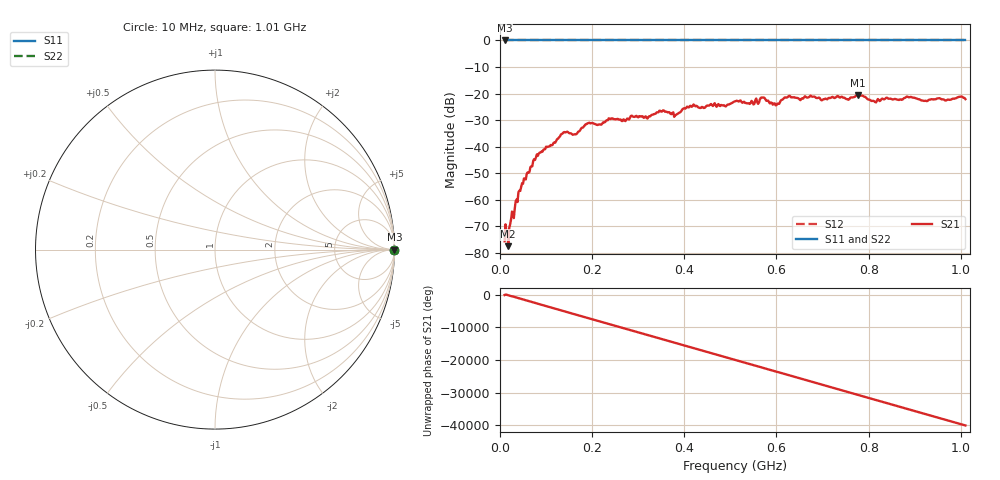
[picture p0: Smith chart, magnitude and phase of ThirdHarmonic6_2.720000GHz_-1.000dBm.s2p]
! 8/17/2025 6:37:42 AM
! C:\ANRITSUVNA\TEMP\TEMP.S2P
! CHANNEL.1
! TR.MEASUREMENT
! RAW.DATA
! RF.CORRECTION.OFF
! AVERAGING.OFF
! IF.BANDWIDTH: 5KHZ
! SWEEPTYPE:  FREQ.SWEEP(Linear)
! Reference Plane Port Info
! PORT:  PORT1  PORT2
! DISTANCE:  0  m  0  m
! TIME:  0  s  0  s
! PHASE.OFFSET:  0  deg.  0  deg.
! LOSS:  0  dB  0  dB
! REF.LOSS:  0  dB  0  dB
! REF.FREQ:  0  Hz  0  Hz
! Power Info
! POWER:  -20  dBm  -20  dBm
! EFF.POWER:  -20  dBm  -20  dBm
! SOURCE.ATTEN:  0  dB  0  dB
! TEST.ATTEN:  0  dB  0  dB
# GHZ S RI R 50.0
! FREQ.GHZ  S11RE  S11IM  S21RE  S21IM  S12RE  S12IM  S22RE  S22IM
!; PortSelection: Port_12
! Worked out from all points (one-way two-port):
!   501 points, 10 MHz to 1.01 GHz, reference 50 ohm
!   highest |S21| = -20.67 dB at 776 MHz (marker M1); lowest = -77.5 dB at 18 MHz (marker M2)
!   lowest |S11| = 0.0 dB at 10 MHz (marker M3)
!   |S11| at or under -10 dB: nowhere
!   |S22| runs from 0.0 to 0.0 dB; largest |S21 - S12| = 1.1
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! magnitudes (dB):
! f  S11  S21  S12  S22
! 10 MHz  0.0  -75.7  0.0  0.0
! 18 MHz  0.0  -77.5  0.0  0.0
! 44 MHz  0.0  -56.7  0.0  0.0
! 76 MHz  0.0  -45.0  0.0  0.0
! 136 MHz  0.0  -35.0  0.0  0.0
! 162 MHz  0.0  -35.4  0.0  0.0
! 178 MHz  0.0  -32.9  0.0  0.0
! 190 MHz  0.0  -31.2  0.0  0.0
! 322 MHz  0.0  -28.8  0.0  0.0
! 344 MHz  0.0  -27.0  0.0  0.0
! 382 MHz  0.0  -28.0  0.0  0.0
! 416 MHz  0.0  -25.0  0.0  0.0
! 510 MHz  0.0  -23.0  0.0  0.0
! 540 MHz  0.0  -23.7  0.0  0.0
! 570 MHz  0.0  -21.5  0.0  0.0
! 602 MHz  0.0  -23.8  0.0  0.0
! 624 MHz  0.0  -21.4  0.0  0.0
! 678 MHz  0.0  -21.2  0.0  0.0
! 776 MHz  0.0  -20.7  0.0  0.0
! 812 MHz  0.0  -22.9  0.0  0.0
! 844 MHz  0.0  -22.0  0.0  0.0
! 1.01 GHz  0.0  -22.1  0.0  0.0
